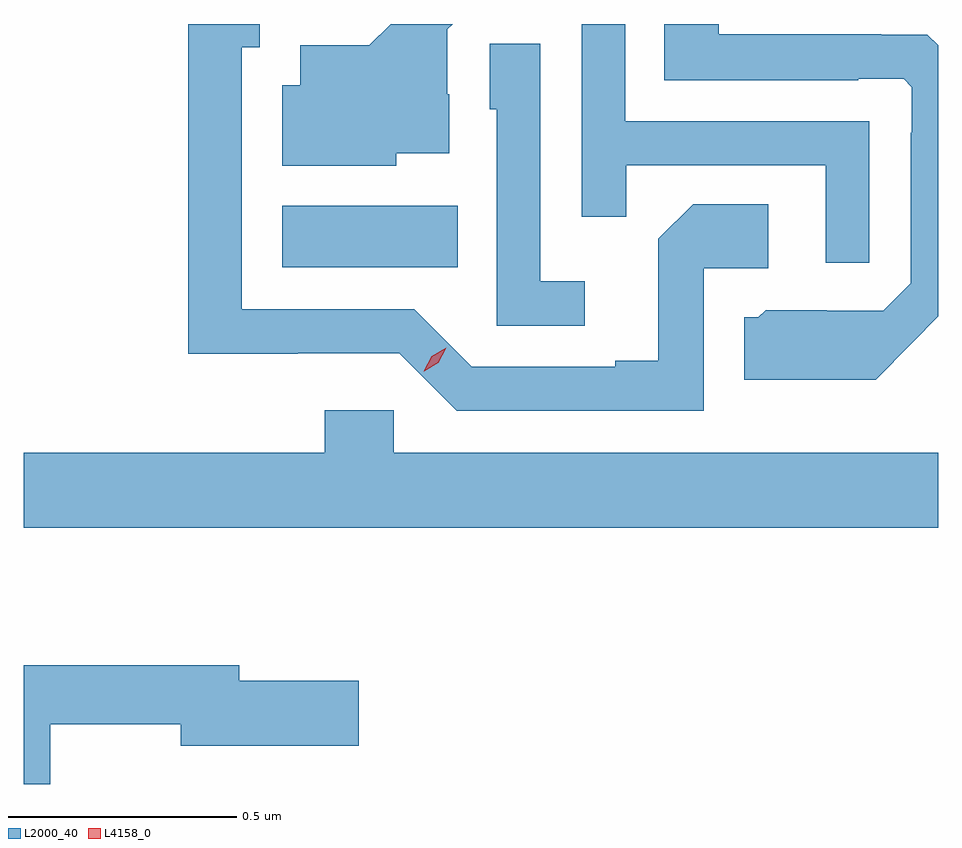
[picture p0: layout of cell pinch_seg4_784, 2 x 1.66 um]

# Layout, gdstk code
import gdstk
lib = gdstk.Library(unit=1e-6, precision=1e-09)
def R(c, l, rs):  # rectangles x0, y0, x1, y1
    for r in rs: c.add(gdstk.rectangle(r[:2], r[2:], *l))
def P(c, l, *ps):  # polygons
    for p in ps: c.add(gdstk.Polygon(p, *l))
L2000_40 = (2000, 40)
L4158_0 = (4158, 0)

pinch_seg4_784 = lib.new_cell('pinch_seg4_784')
R(pinch_seg4_784, L2000_40, [(794.936,825.362,795.32,825.496)])
P(pinch_seg4_784, L2000_40, [(795.858,825.36),(796,825.36),(796,825.5),(795.835,825.5),(795.759,825.424),(795.759,825.157),(795.665,825.157),(795.665,825.144),(795.351,825.144),(795.225,825.27),(794.848,825.27),(794.848,825.843),(794.887,825.843),(794.887,825.894),(794.73,825.894),(794.73,825.173),(794.97,825.173),(794.97,825.174),(795.192,825.174),(795.318,825.048),(795.858,825.048)],
  [(795.186,825.611),(795.301,825.611),(795.301,825.74),(795.297,825.74),(795.297,825.882),(795.309,825.894),(795.174,825.894),(795.127,825.847),(794.975,825.847),(794.975,825.76),(794.936,825.76),(794.936,825.584),(795.186,825.584)],
  [(796.221,825.681),(795.687,825.681),(795.687,825.894),(795.591,825.894),(795.591,825.472),(795.689,825.472),(795.689,825.585),(796.125,825.585),(796.125,825.372),(796.221,825.372)],
  [(796.315,825.197),(796.371,825.254),(796.371,825.848),(796.348,825.871),(796.247,825.871),(796.247,825.872),(795.891,825.872),(795.891,825.894),(795.772,825.894),(795.772,825.771),(796.196,825.771),(796.196,825.774),(796.296,825.774),(796.314,825.756),(796.314,825.656),(796.311,825.656),(796.311,825.327),(796.251,825.267),(796.128,825.267),(796.128,825.268),(795.994,825.268),(795.978,825.252),(795.947,825.252),(795.947,825.116),(796.235,825.116)],
  [(795.598,825.331),(795.501,825.331),(795.501,825.851),(795.39,825.851),(795.39,825.708),(795.405,825.708),(795.405,825.234),(795.598,825.234)],
  [(796.371,824.956),(795.18,824.956),(795.18,825.049),(795.029,825.049),(795.029,824.956),(794.371,824.956),(794.371,824.792),(796.371,824.792)],
  [(794.428,824.362),(794.714,824.362),(794.714,824.315),(795.103,824.315),(795.103,824.457),(794.842,824.457),(794.842,824.491),(794.371,824.491),(794.371,824.231),(794.428,824.231)])
P(pinch_seg4_784, L4158_0, [(795.246,825.134),(795.246,825.134),(795.263,825.167),(795.295,825.186),(795.295,825.186),(795.295,825.186),(795.278,825.153),(795.247,825.134)])

lib.write_gds('pinch_seg4_784.gds')
